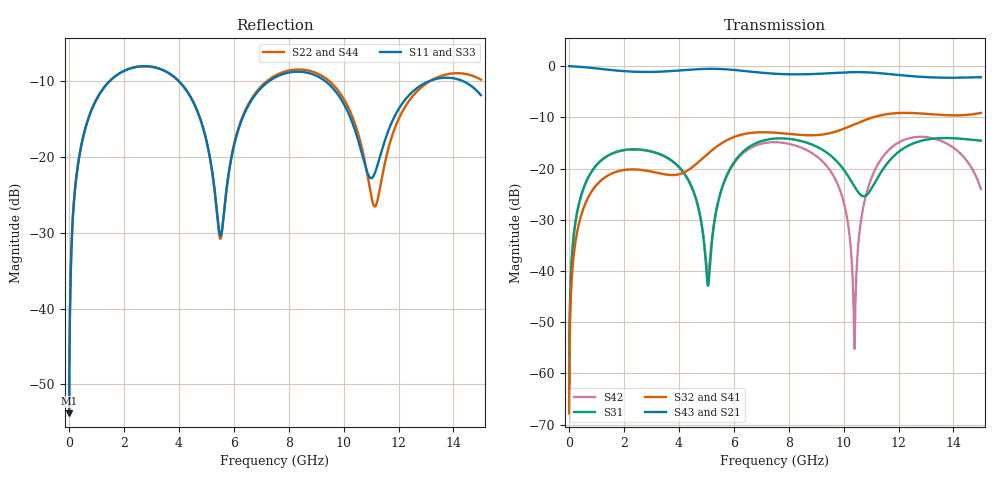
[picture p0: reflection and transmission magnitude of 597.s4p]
! Created with skrf 1.8.0 (http://scikit-rf.org).
# GHz S RI R 50.0
!freq ReS11 ImS11 ReS12 ImS12 ReS13 ImS13
! ReS14 ImS14
! ReS21 ImS21 ReS22 ImS22 ReS23 ImS23
! ReS24 ImS24
! ReS31 ImS31 ReS32 ImS32 ReS33 ImS33
! ReS34 ImS34
! ReS41 ImS41 ReS42 ImS42 ReS43 ImS43
! ReS44 ImS44
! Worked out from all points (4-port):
!   2499 points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, 5 MHz to 15 GHz, reference 50 ohm
!   strongest paths, dB at 5 MHz, 3.476 GHz, 7.19 GHz, 11.1 GHz, 15 GHz:
!     S43: 0.0, -1.0, -1.4, -1.3, -2.2
!     S21: 0.0, -1.0, -1.4, -1.3, -2.2
!     S32: -67.8, -21.1, -12.9, -10.0, -9.1
!     S41: -67.8, -21.1, -12.9, -10.0, -9.2
!     S31: -63.9, -17.6, -14.4, -23.1, -14.6
!     S42: -63.9, -17.7, -15.0, -20.8, -24.0
!   lowest |S11| = -53.8 dB at 5 MHz (marker M1), VSWR 1.00, Z = 50.2 + j0.124 ohm
!   |S11| at or under -10 dB: start of sweep to 1.497 GHz; 3.984 GHz to 7.311 GHz (3.327 GHz wide, 58.9 % of centre); 9.311 GHz to 13.15 GHz (3.842 GHz wide, 34.2 % of centre) (the widest 3 of 4)
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0.005  0.00163 0.00124  0.9983 -0.00317  8.13e-05 0.000636  -7.9e-05 -0.0004
       0.9983 -0.00317  0.00163 0.00124  -7.9e-05 -0.0004  8.13e-05 0.000636
       8.13e-05 0.000636  -7.9e-05 -0.0004  0.00163 0.00124  0.9983 -0.00317
       -7.9e-05 -0.0004  8.13e-05 0.000636  0.9983 -0.00317  0.00163 0.00124
1.619545  0.281 0.1751  0.526 -0.7434  0.1303 0.0562  -0.0908 -0.00246
          0.526 -0.7434  0.2813 0.1749  -0.0908 -0.00244  0.1291 0.058
          0.1303 0.0562  -0.0908 -0.00244  0.281 0.1751  0.526 -0.7434
          -0.0908 -0.00246  0.1291 0.058  0.526 -0.7434  0.2814 0.1749
5.058358  0.0558 -0.1012  -0.8852 -0.3187  -0.00709 -0.00121  -0.0434 0.1327
          -0.8852 -0.3187  0.0543 -0.1014  -0.0432 0.1328  -0.00955 -0.00122
          -0.00709 -0.00121  -0.0432 0.1328  0.0564 -0.1028  -0.8849 -0.3188
          -0.0434 0.1327  -0.00955 -0.00122  -0.8849 -0.3188  0.0549 -0.1029
8.597332  0.3575 -0.0372  0.0185 0.8312  0.1408 -0.114  0.2001 -0.0696
          0.0185 0.8312  0.3692 -0.0496  0.1999 -0.07  0.1415 -0.061
          0.1408 -0.114  0.1999 -0.07  0.3561 -0.0383  0.0198 0.8317
          0.2001 -0.0696  0.1415 -0.061  0.0198 0.8317  0.368 -0.0496
10.39183  0.1118 -0.1054  0.741 0.4609  -0.0519 -0.0426  0.1351 -0.2335
          0.741 0.4609  0.102 -0.1349  0.1348 -0.2336  0.00178 -0.000292
          -0.0519 -0.0426  0.1348 -0.2336  0.1092 -0.1056  0.7426 0.4587
          0.1351 -0.2335  0.00178 -0.000292  0.7426 0.4587  0.1026 -0.1333
11.69237  0.1237 0.0987  0.8164 -0.1756  0.061 0.1046  -0.0995 -0.3275
          0.8164 -0.1756  0.0857 0.0897  -0.1001 -0.3278  0.1082 0.1123
          0.061 0.1046  -0.1001 -0.3278  0.1214 0.1004  0.8154 -0.179
          -0.0995 -0.3275  0.1082 0.1123  0.8154 -0.179  0.0896 0.0901
15  0.2302 -0.1075  -0.3035 -0.718  -0.0444 -0.1818  -0.3102 0.1591
    -0.3035 -0.718  0.3012 -0.1127  -0.3095 0.1614  0.0413 -0.0477
    -0.0444 -0.1818  -0.3095 0.1614  0.2327 -0.1043  -0.3086 -0.7152
    -0.3102 0.1591  0.0413 -0.0477  -0.3086 -0.7152  0.2997 -0.1202
